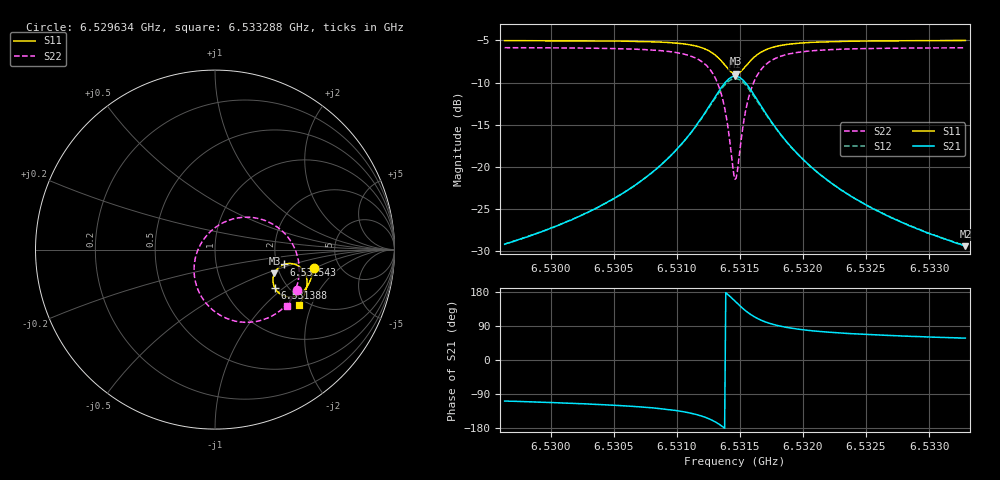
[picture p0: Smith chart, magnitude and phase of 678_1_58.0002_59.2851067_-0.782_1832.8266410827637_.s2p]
#  HZ  S  RI  R  50.00
! Rohde & Schwarz Vector Network Analyzer
! Rohde-Schwarz,ZNB20-2Port,1311601062101988,3.16
! Created: UTC 3/21/2024, 1:20:44 AM
! freq[Hz]  re:S11  im:S11  re:S21  im:S21  re:S12  im:S12  re:S22  im:S22
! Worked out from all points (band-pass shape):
!   401 points, 6.529634 GHz to 6.533288 GHz, reference 50 ohm
!   highest |S21| = -9.25 dB at 6.531461 GHz (marker M1); lowest = -29.4 dB at 6.533288 GHz (marker M2)
!   |S21| within 3 dB of the highest: 6.53128 GHz to 6.531645 GHz (365.6 kHz wide, 0.0056 % of centre)
!   lowest |S11| = -9.0 dB at 6.53147 GHz (marker M3), VSWR 2.11, Z = 94 - j28.3 ohm
!   |S11| at or under -10 dB: nowhere
!   |S22| runs from -21.5 to -5.9 dB; largest |S21 - S12| = 0.015
!   S11 on the Smith chart (normalised r, x): 6.529634 GHz: 3.23, -0.97; 6.531388 GHz: 1.72, -0.87; 6.531543 GHz: 2.19, -0.43; 6.533288 GHz: 1.83, -1.64
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6.5296337e9  0.5509 -0.103  -0.0109 -0.0331  -0.0117 -0.0328  0.4577 -0.2227
6.5302458e9  0.5371 -0.155  -0.0221 -0.0469  -0.0234 -0.0463  0.4209 -0.2808
6.5305656e9  0.5246 -0.1858  -0.0354 -0.0598  -0.0371 -0.0587  0.3863 -0.3194
6.530858e9  0.5042 -0.2189  -0.0617 -0.0791  -0.0642 -0.0773  0.3271 -0.3644
6.5310681e9  0.4737 -0.2473  -0.1071 -0.0984  -0.1102 -0.0943  0.2361 -0.3994
6.5312326e9  0.4205 -0.264  -0.19 -0.1002  -0.1919 -0.0919  0.0862 -0.3911
6.531324e9  0.3697 -0.2512  -0.268 -0.0613  -0.265 -0.0496  -0.0404 -0.3096
6.5313605e9  0.3476 -0.2334  -0.3001 -0.0245  -0.2938 -0.0126  -0.0868 -0.2414
6.5313879e9  0.3337 -0.2134  -0.319 0.0138  -0.3098 0.0245  -0.1102 -0.1742
6.5314427e9  0.3235 -0.1597  -0.3246 0.1106  -0.3112 0.1159  -0.1002 -0.0146
6.531461e9  0.3278 -0.1404  -0.3135 0.1438  -0.2998 0.1466  -0.0759 0.0372
6.5314701e9  0.3315 -0.1313  -0.3058 0.1595  -0.2921 0.1612  -0.06 0.0613
6.5314884e9  0.3416 -0.1145  -0.2854 0.1878  -0.2726 0.1873  -0.022 0.1038
6.5315432e9  0.3851 -0.0826  -0.2052 0.2402  -0.1968 0.2358  0.1188 0.175
6.5315706e9  0.4084 -0.0776  -0.1641 0.2479  -0.158 0.243  0.1879 0.1804
6.5316072e9  0.436 -0.0795  -0.1167 0.2446  -0.1126 0.2402  0.267 0.1662
6.5316986e9  0.4812 -0.1034  -0.0401 0.2077  -0.0383 0.2054  0.3902 0.0879
6.5318356e9  0.5069 -0.1434  0.00469 0.1518  0.00589 0.1509  0.4553 -0.0232
6.5320732e9  0.5133 -0.1909  0.022 0.0963  0.0232 0.0958  0.469 -0.1358
6.5323655e9  0.5063 -0.2289  0.0235 0.0639  0.0245 0.0638  0.4548 -0.2079
6.5326853e9  0.4949 -0.2598  0.0217 0.0459  0.0226 0.0456  0.4356 -0.2555
6.5332883e9  0.4705 -0.3066  0.0181 0.0287  0.0189 0.0285  0.4004 -0.313
